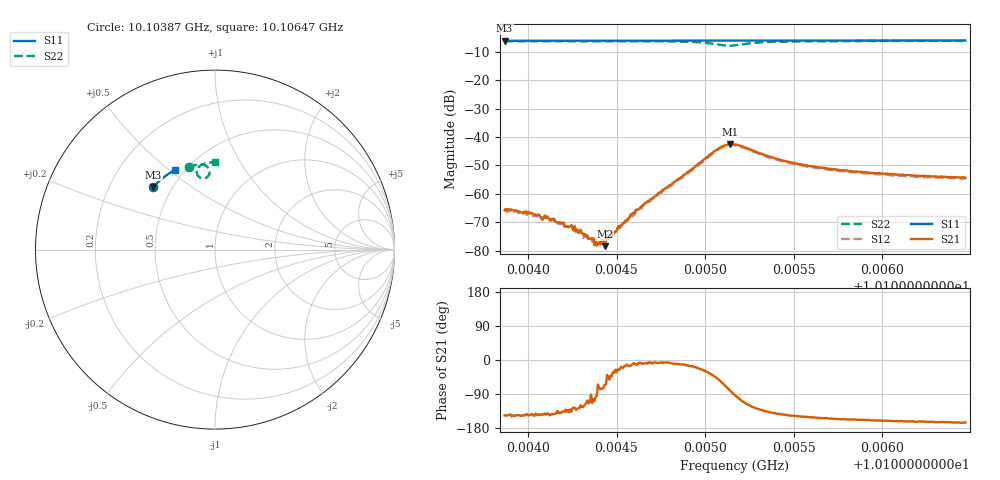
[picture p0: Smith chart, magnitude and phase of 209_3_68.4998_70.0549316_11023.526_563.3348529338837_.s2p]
#  HZ  S  RI  R  50.00
! Rohde & Schwarz Vector Network Analyzer
! Rohde-Schwarz,ZNB20-2Port,1311601062101988,3.16
! Created: UTC 3/20/2024, 5:13:05 PM
! freq[Hz]  re:S11  im:S11  re:S21  im:S21  re:S12  im:S12  re:S22  im:S22
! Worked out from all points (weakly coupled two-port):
!   401 points, 10.10387 GHz to 10.10647 GHz, reference 50 ohm
!   highest |S21| = -42.52 dB at 10.10514 GHz (marker M1); lowest = -78.4 dB at 10.10443 GHz (marker M2)
!   lowest |S11| = -6.2 dB at 10.10387 GHz (marker M3), VSWR 2.92, Z = 19.7 + j18.1 ohm
!   |S11| at or under -10 dB: nowhere
!   |S22| runs from -7.9 to -6.2 dB; largest |S21 - S12| = 0.00079
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1.0103868e10  -0.3444 0.3491  -0.000426 -0.000286  -0.000399 -0.000337  -0.1464 0.4598
1.0104005e10  -0.3386 0.3551  -0.000396 -0.000263  -0.000346 -0.000288  -0.1373 0.4628
1.010407e10  -0.3359 0.3581  -0.000326 -0.000223  -0.000302 -0.000265  -0.1328 0.4643
1.0104102e10  -0.3345 0.3595  -0.000305 -0.00022  -0.000267 -0.000257  -0.1305 0.4651
1.0104213e10  -0.3298 0.3642  -0.000178 -0.000204  -0.000191 -0.000184  -0.1228 0.4674
1.0104252e10  -0.328 0.3659  -0.000154 -0.000203  -0.000157 -0.000177  -0.1198 0.4681
1.0104304e10  -0.3257 0.3681  -0.000116 -0.000173  -8.7e-05 -0.000175  -0.116 0.4692
1.0104388e10  -0.3221 0.3716  -9.31e-06 -0.000123  1.42e-05 -0.000132  -0.1094 0.4707
1.0104421e10  -0.3207 0.373  3.26e-05 -0.000128  7.54e-05 -0.000131  -0.1069 0.4712
1.0104434e10  -0.3202 0.3735  4.99e-05 -0.000109  8.92e-05 -9.94e-05  -0.1058 0.4714
1.0104466e10  -0.3186 0.3748  0.000148 -0.000128  0.000131 -9.94e-05  -0.1032 0.4719
1.0104486e10  -0.3177 0.3758  0.00018 -0.000122  0.000186 -9.42e-05  -0.1014 0.4722
1.0104596e10  -0.3127 0.3801  0.000463 -6.92e-05  0.000415 -4.64e-05  -0.0916 0.4737
1.0104661e10  -0.3098 0.3828  0.000682 -0.000106  0.000664 -4.85e-05  -0.0852 0.474
1.0104739e10  -0.3061 0.3859  0.00104 -0.000136  0.001 -3.09e-05  -0.0765 0.474
1.0105064e10  -0.2908 0.3982  0.00404 -0.00435  0.00425 -0.00378  -0.0309 0.4243
1.0105142e10  -0.2871 0.4009  0.00107 -0.0074  0.00173 -0.00697  -0.065 0.3967
1.0105168e10  -0.2861 0.4018  -0.000403 -0.00735  0.000304 -0.00714  -0.0805 0.3999
1.0105396e10  -0.2753 0.4105  -0.00323 -0.00264  -0.00288 -0.0028  -0.0889 0.462
1.0105604e10  -0.2651 0.418  -0.00265 -0.00144  -0.00243 -0.00161  -0.0668 0.4761
1.0106039e10  -0.243 0.4324  -0.00208 -0.000729  -0.00195 -0.000909  -0.0311 0.485
1.0106468e10  -0.2206 0.4453  -0.00185 -0.000495  -0.00173 -0.000656  -0.000515 0.4881
